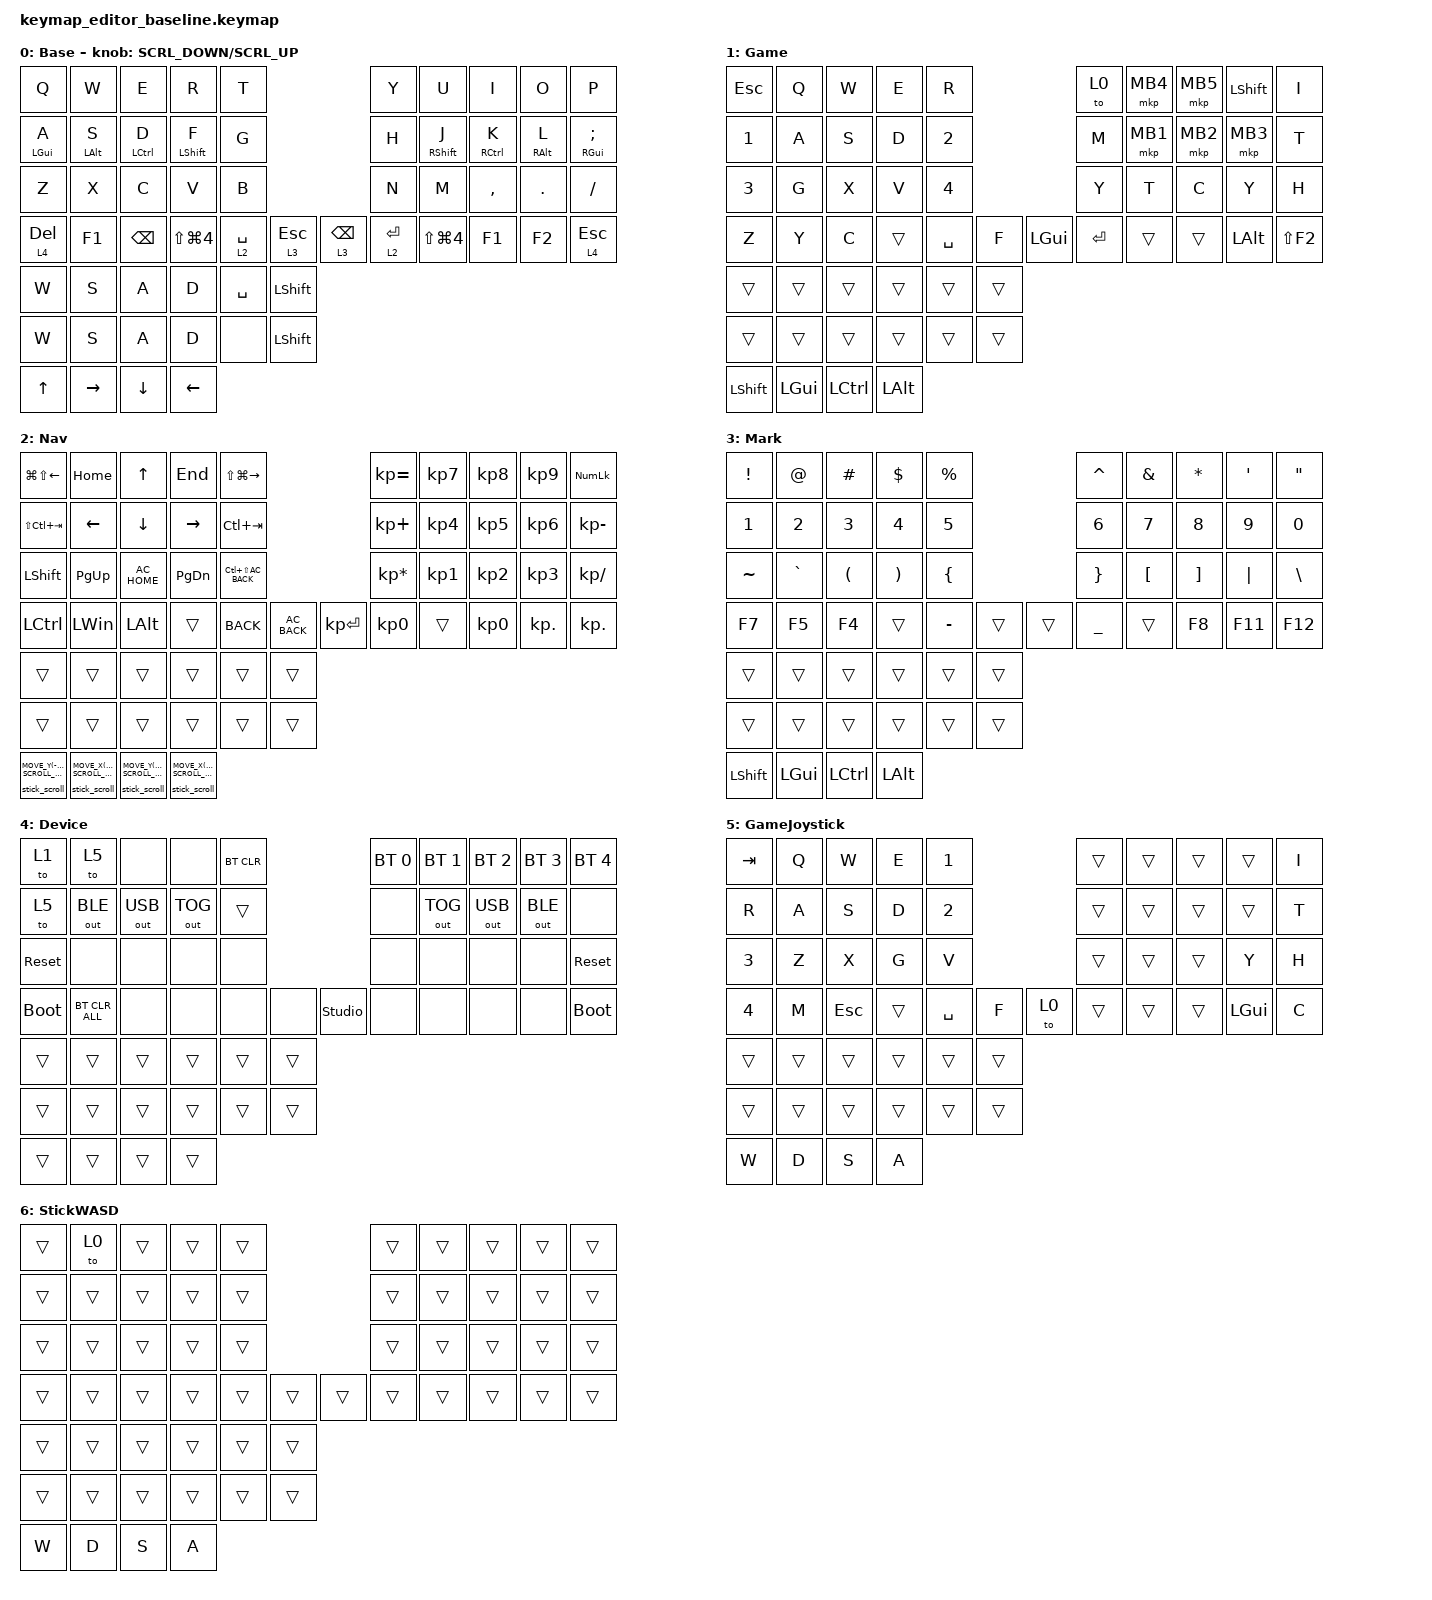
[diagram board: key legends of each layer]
#define ZMK_POINTING_DEFAULT_SCRL_VAL 200
/* Independent stick rate; do not alter existing mouse/encoder scroll speed. */
#define LISM_4WAY_SCROLL_SPEED 25
#include <zephyr/dt-bindings/input/input-event-codes.h>

#include <dt-bindings/zmk/mouse.h>
#include <behaviors.dtsi>
#include <dt-bindings/zmk/bt.h>
#include <dt-bindings/zmk/keys.h>
#include <dt-bindings/zmk/outputs.h>
#include <dt-bindings/zmk/pointing.h>

&mt {
    tapping-term-ms = <200>;
    require-prior-idle-ms = <125>;
    flavor = "balanced";
};

&lt { quick-tap-ms = <300>; };

/ {
    macros {
        emoji: emoji_macro {
            compatible = "zmk,behavior-macro";
            label = "EMOJI";
            #binding-cells = <0>;
            bindings =
                <&macro_press>,
                <&kp CAPSLOCK>,
                <&macro_tap>,
                <&kp E>,
                <&macro_release>,
                <&kp CAPSLOCK>;
        };
    };

    stick_scroll_listener {
        compatible = "zmk,input-listener";
        device = <&stick_scroll>;
    };

    behaviors {
        stick_scroll: stick_scroll {
            compatible = "zmk,behavior-input-two-axis";
            #binding-cells = <1>;
            x-input-code = <INPUT_REL_HWHEEL>;
            y-input-code = <INPUT_REL_WHEEL>;
            delay-ms = <0>;
            time-to-max-speed-ms = <0>;
            acceleration-exponent = <0>; /* Uniform scroll, matching the stock msc behavior. */
        };

        encoder_msc: sensor_rotate_msc {
            compatible = "zmk,behavior-sensor-rotate-var";
            #sensor-binding-cells = <2>;
            bindings = <&msc>, <&msc>;

            tap-ms = <20>;
        };

        encoder_kp: sensor_rotate_kp {
            compatible = "zmk,behavior-sensor-rotate-var";
            #sensor-binding-cells = <2>;
            bindings = <&kp>, <&kp>;
        };
    };

    combos {
        compatible = "zmk,combos";

        MleftClkR {
            bindings = <&mkp MB1>;
            key-positions = <16 17>;
        };

        MrightClkR {
            bindings = <&mkp MB2>;
            key-positions = <18 17>;
        };

        MmidClkR {
            bindings = <&mkp MB3>;
            key-positions = <18 16>;
        };

        comboTb {
            bindings = <&kp TAB>;
            key-positions = <11 12>;
            layers = <0>;
        };

        SftTb {
            bindings = <&kp LS(TAB)>;
            key-positions = <12 13>;
            layers = <0>;
        };

        Cp {
            bindings = <&kp LC(C)>;
            key-positions = <21 22>;
            layers = <0>;
        };

        Pst {
            bindings = <&kp LC(V)>;
            key-positions = <22 23>;
            layers = <0>;
        };

        Ct {
            bindings = <&kp LC(X)>;
            key-positions = <23 21>;
            layers = <0>;
        };

        ScrnSht {
            bindings = <&kp LG(LS(S))>;
            key-positions = <10 11>;
            layers = <0>;
        };

        MRightClkL {
            bindings = <&mkp MB2>;
            key-positions = <1 2>;
            layers = <0>;
        };

        MLeftClkL {
            bindings = <&mkp MB1>;
            key-positions = <2 3>;
            layers = <0>;
        };

        MmidClkL {
            bindings = <&mkp MB3>;
            key-positions = <1 3>;
            layers = <0>;
        };

        ScrnShtMac {
            bindings = <&kp LG(LS(NUMBER_4))>;
            key-positions = <0 1>;
            layers = <0>;
        };

        rleftclk2 {
            bindings = <&mkp MB1>;
            key-positions = <6 7>;
        };

        rrightclk2 {
            bindings = <&mkp MB2>;
            key-positions = <8 7>;
        };

        Allslct {
            bindings = <&kp LC(A)>;
            key-positions = <11 13>;
            layers = <0>;
        };

        MmidClkR2 {
            bindings = <&mkp MB3>;
            key-positions = <6 8>;
        };

        capscombo {
            bindings = <&kp CAPSLOCK>;
            key-positions = <35 36>;
        };

        gameI {
            bindings = <&kp I>;
            key-positions = <23 22>;
            layers = <1>;
        };

        gameT {
            bindings = <&kp T>;
            key-positions = <4 3>;
            layers = <1>;
        };

        gameH {
            bindings = <&kp H>;
            key-positions = <23 21>;
            layers = <1>;
        };

        gameTab {
            bindings = <&kp TAB>;
            key-positions = <11 12>;
            layers = <1>;
        };

        gameC {
            bindings = <&kp C>;
            key-positions = <32 31>;
            layers = <1>;
        };

        gameY {
            bindings = <&kp Y>;
            key-positions = <30 31>;
            layers = <1>;
        };

        gameM {
            bindings = <&kp M>;
            key-positions = <21 22>;
            layers = <1>;
        };
    };

    keymap {
        compatible = "zmk,keymap";

        default_layer {
            display-name = "Base";
            bindings = <
&kp Q           &kp W       &kp E          &kp R             &kp T                                      &kp Y        &kp U           &kp I        &kp O       &kp P
&mt LEFT_GUI A  &mt LALT S  &mt LCTRL D    &mt LEFT_SHIFT F  &kp G                                      &kp H        &mt RSHIFT J    &mt RCTRL K  &mt RALT L  &mt RGUI SEMICOLON
&kp Z           &kp X       &kp C          &kp V             &kp B                                      &kp N        &kp M           &kp COMMA    &kp DOT     &kp SLASH
&lt 4 DELETE    &kp F1      &kp BACKSPACE  &kp LS(LG(N4))    &lt 2 SPACE  &lt 3 ESC    &lt 3 BACKSPACE  &lt 2 ENTER  &kp LS(LG(N4))  &kp F1       &kp F2      &lt 4 ESC
&kp W  &kp S  &kp A  &kp D  &kp SPACE  &kp LEFT_SHIFT  /* JP19 42..47 */
&kp W  &kp S  &kp A  &kp D  &none      &kp LEFT_SHIFT  /* Circle Pad 48..53 */
&kp UP  &kp RIGHT  &kp DOWN  &kp LEFT  /* Base: Up Right Down Left. */
            >;

            sensor-bindings = <&encoder_msc SCRL_DOWN SCRL_UP>;
        };

        layer_1 {
            display-name = "Game";
            bindings = <
&kp ESC       &kp Q  &kp W  &kp E   &kp R                                &to 0      &mkp MB4  &mkp MB5  &kp LEFT_SHIFT  &kp I
&kp NUMBER_1  &kp A  &kp S  &kp D   &kp NUMBER_2                         &kp M      &mkp MB1  &mkp MB2  &mkp MB3        &kp T
&kp NUMBER_3  &kp G  &kp X  &kp V   &kp NUMBER_4                         &kp Y      &kp T     &kp C     &kp Y           &kp H
&kp Z         &kp Y  &kp C  &trans  &kp SPACE     &kp F    &kp LEFT_GUI  &kp ENTER  &trans    &trans    &kp LEFT_ALT    &kp LS(F2)
&trans &trans &trans &trans &trans &trans &trans &trans &trans &trans &trans &trans
&kp LEFT_SHIFT  &kp LEFT_GUI  &kp LEFT_CONTROL  &kp LEFT_ALT  /* Game: Up Right Down Left. */
            >;
        };

        layer_2 {
            display-name = "Nav";
            bindings = <
&kp LG(LS(LEFT))  &kp HOME      &kp UP         &kp END        &kp LS(LG(RIGHT))                                     &kp KP_EQUAL     &kp KP_N7  &kp KP_N8  &kp KP_N9   &kp KP_NUMLOCK
&kp LS(LC(TAB))   &kp LEFT      &kp DOWN       &kp RIGHT      &kp LC(TAB)                                           &kp KP_PLUS      &kp KP_N4  &kp KP_N5  &kp KP_N6   &kp KP_MINUS
&kp LEFT_SHIFT    &kp PAGE_UP   &kp C_AC_HOME  &kp PAGE_DOWN  &kp LC(LS(C_AC_BACK))                                 &kp KP_MULTIPLY  &kp KP_N1  &kp KP_N2  &kp KP_N3   &kp KP_DIVIDE
&kp LCTRL         &kp LEFT_WIN  &kp LEFT_ALT   &trans         &kp K_BACK             &kp C_AC_BACK    &kp KP_ENTER  &kp KP_N0        &trans     &kp KP_N0  &kp KP_DOT  &kp KP_DOT
&trans &trans &trans &trans &trans &trans &trans &trans &trans &trans &trans &trans
&stick_scroll MOVE_Y(-LISM_4WAY_SCROLL_SPEED)  &stick_scroll MOVE_X(-LISM_4WAY_SCROLL_SPEED)  &stick_scroll MOVE_Y(LISM_4WAY_SCROLL_SPEED)  &stick_scroll MOVE_X(LISM_4WAY_SCROLL_SPEED)  /* Nav U/R/D/L: scroll Down/Left/Up/Right, continuous while held. */
            >;

            #sensor-bindings = <&encoder_kp C_VOL_UP C_VOL_DN>;
        };

        layer_3 {
            display-name = "Mark";
            bindings = <
&kp EXCLAMATION  &kp AT_SIGN   &kp HASH              &kp DOLLAR             &kp PERCENT                       &kp CARET        &kp AMPERSAND     &kp ASTERISK       &kp SINGLE_QUOTE  &kp DOUBLE_QUOTES
&kp NUMBER_1     &kp NUMBER_2  &kp NUMBER_3          &kp NUMBER_4           &kp NUMBER_5                      &kp NUMBER_6     &kp NUMBER_7      &kp NUMBER_8       &kp NUMBER_9      &kp NUMBER_0
&kp TILDE        &kp GRAVE     &kp LEFT_PARENTHESIS  &kp RIGHT_PARENTHESIS  &kp LEFT_BRACE                    &kp RIGHT_BRACE  &kp LEFT_BRACKET  &kp RIGHT_BRACKET  &kp PIPE          &kp BACKSLASH
&kp F7           &kp F5        &kp F4                &trans                 &kp MINUS       &trans    &trans  &kp UNDERSCORE   &trans            &kp F8             &kp F11           &kp F12
&trans &trans &trans &trans &trans &trans &trans &trans &trans &trans &trans &trans
&kp LEFT_SHIFT  &kp LEFT_GUI  &kp LEFT_CONTROL  &kp LEFT_ALT  /* Mark: Up Right Down Left. */
            >;
        };

        layer_4 {
            display-name = "Device";
            bindings = <
&to 1        &to 5           &none         &none         &bt BT_CLR                           &bt BT_SEL 0  &bt BT_SEL 1  &bt BT_SEL 2  &bt BT_SEL 3  &bt BT_SEL 4
&to 5        &out OUT_BLE    &out OUT_USB  &out OUT_TOG  &trans                               &none         &out OUT_TOG  &out OUT_USB  &out OUT_BLE  &none
&sys_reset   &none           &none         &none         &none                                &none         &none         &none         &none         &sys_reset
&bootloader  &bt BT_CLR_ALL  &none         &none         &none       &none    &studio_unlock  &none         &none         &none         &none         &bootloader
&trans &trans &trans &trans &trans &trans &trans &trans &trans &trans &trans &trans
&trans &trans &trans &trans  /* Left 4waystick: Up Right Down Left. */
            >;
        };

        layer_5 {
            display-name = "GameJoystick";
            bindings = <
&kp TAB       &kp Q  &kp W    &kp E   &kp NUMBER_1                  &trans  &trans  &trans  &trans        &kp I
&kp R         &kp A  &kp S    &kp D   &kp NUMBER_2                  &trans  &trans  &trans  &trans        &kp T
&kp NUMBER_3  &kp Z  &kp X    &kp G   &kp V                         &trans  &trans  &trans  &kp Y         &kp H
&kp NUMBER_4  &kp M  &kp ESC  &trans  &kp SPACE     &kp F    &to 0  &trans  &trans  &trans  &kp LEFT_GUI  &kp C
&trans &trans &trans &trans &trans &trans &trans &trans &trans &trans &trans &trans
&kp W  &kp D  &kp S  &kp A  /* GameJoystick: Up Right Down Left. */
            >;
        };

        layer_6 {
            status = "okay";
            display-name = "StickWASD";
            bindings = <
&trans  &to 0  &trans  &trans  &trans                    &trans  &trans  &trans  &trans  &trans
&trans  &trans  &trans  &trans  &trans                    &trans  &trans  &trans  &trans  &trans
&trans  &trans  &trans  &trans  &trans                    &trans  &trans  &trans  &trans  &trans
&trans  &trans  &trans  &trans  &trans  &trans    &trans  &trans  &trans  &trans  &trans  &trans
&trans &trans &trans &trans &trans &trans &trans &trans &trans &trans &trans &trans
&kp W  &kp D  &kp S  &kp A  /* Left 4waystick: Up Right Down Left. */
            >;
        };

        layer_7 {
            status = "reserved";
            display-name = "Brank Layer";
            bindings = <
&trans  &trans  &trans  &trans  &trans                    &trans  &trans  &trans  &trans  &trans
&trans  &trans  &trans  &trans  &trans                    &trans  &trans  &trans  &trans  &trans
&trans  &trans  &trans  &trans  &trans                    &trans  &trans  &trans  &trans  &trans
&trans  &trans  &trans  &trans  &trans  &trans    &trans  &trans  &trans  &trans  &trans  &trans
&trans &trans &trans &trans &trans &trans &trans &trans &trans &trans &trans &trans
&trans &trans &trans &trans  /* Left 4waystick: Up Right Down Left. */
            >;
        };
    };
};
